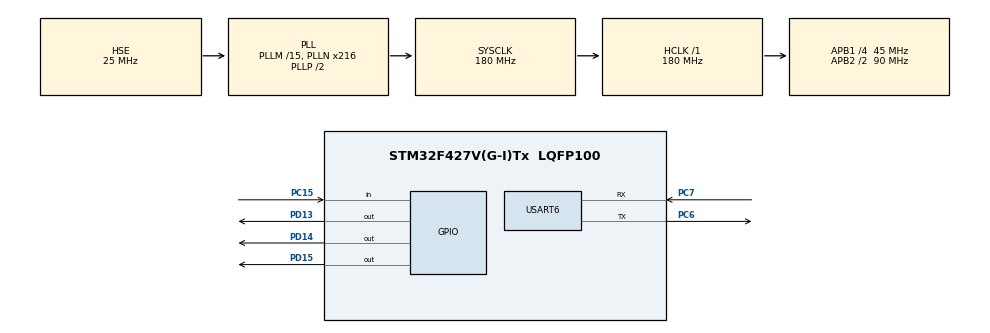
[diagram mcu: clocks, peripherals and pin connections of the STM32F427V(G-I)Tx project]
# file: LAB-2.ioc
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Mcu.Family=STM32F4
Mcu.Name=STM32F427V(G-I)Tx
Mcu.Package=LQFP100
NVIC.PriorityGroup=NVIC_PRIORITYGROUP_4
NVIC.USART6_IRQn=true\:0\:0\:false\:false\:true\:true\:true\:true
PA13.Mode=JTAG_5_pins
PA13.Signal=SYS_JTMS-SWDIO
PA14.Mode=JTAG_5_pins
PA14.Signal=SYS_JTCK-SWCLK
PA15.Mode=JTAG_5_pins
PA15.Signal=SYS_JTDI
PB3.Mode=JTAG_5_pins
PB3.Signal=SYS_JTDO-SWO
PB4.Mode=JTAG_5_pins
PB4.Signal=SYS_JTRST
PC15/OSC32_OUT.Signal=GPIO_Input
PC6.Mode=Asynchronous
PC6.Signal=USART6_TX
PC7.Mode=Asynchronous
PC7.Signal=USART6_RX
PD13.Signal=GPIO_Output
PD14.Signal=GPIO_Output
PD15.Signal=GPIO_Output
PH0/OSC_IN.Mode=HSE-External-Oscillator
PH0/OSC_IN.Signal=RCC_OSC_IN
PH1/OSC_OUT.Mode=HSE-External-Oscillator
PH1/OSC_OUT.Signal=RCC_OSC_OUT
ProjectManager.HeapSize=0x200
ProjectManager.StackSize=0x400
ProjectManager.TargetToolchain=STM32CubeIDE
RCC.48MHZClocksFreq_Value=90000000
RCC.AHBFreq_Value=180000000
RCC.APB1CLKDivider=RCC_HCLK_DIV4
RCC.APB1Freq_Value=45000000
RCC.APB1TimFreq_Value=90000000
RCC.APB2CLKDivider=RCC_HCLK_DIV2
RCC.APB2Freq_Value=90000000
RCC.APB2TimFreq_Value=180000000
RCC.CortexFreq_Value=180000000
RCC.HCLKFreq_Value=180000000
RCC.HSE_VALUE=25000000
RCC.HSI_VALUE=16000000
RCC.LSE_VALUE=32768
RCC.PLLM=15
RCC.PLLN=216
RCC.PLLSourceVirtual=RCC_PLLSOURCE_HSE
RCC.SYSCLKFreq_VALUE=180000000
RCC.SYSCLKSource=RCC_SYSCLKSOURCE_PLLCLK
RCC.VCOOutputFreq_Value=360000000
USART6.VirtualMode=VM_ASYNC
board=custom

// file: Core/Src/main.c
/* USER CODE BEGIN Header */
/**
  ******************************************************************************
  * @file           : main.c
  * @brief          : Main program body
  ******************************************************************************
  * @attention
  *
  * Copyright (c) 2026 STMicroelectronics.
  * All rights reserved.
  *
  * This software is licensed under terms that can be found in the LICENSE file
  * in the root directory of this software component.
  * If no LICENSE file comes with this software, it is provided AS-IS.
  *
  ******************************************************************************
  */
/* USER CODE END Header */
#include "main.h"
#include "usart.h"
#include "gpio.h"

/* USER CODE BEGIN Includes */
#include <stdbool.h>

#include "morse_buf.h"
#include "led.h"
#include "timing.h"
#include "button_driver.h"
#include "uart_buf.h"
#include "morse.h"
#include "uart_driver.h"

/* USER CODE END Includes */

/* USER CODE BEGIN PD */

#define DURATION_TIMER 0
#define LETTER_PAUSE_TIMER 1

/* USER CODE END PD */

void SystemClock_Config(void);

int main(void)
{

  /* MCU Configuration--------------------------------------------------------*/

  /* Reset of all peripherals, Initializes the Flash interface and the Systick. */
  HAL_Init();

  /* Configure the system clock */
  SystemClock_Config();

  /* Initialize all configured peripherals */
  MX_GPIO_Init();
  MX_USART6_UART_Init();

  /* Infinite loop */
  /* USER CODE BEGIN WHILE */

  morse_buf button_buf;

  bool is_showing = false;
  bool is_printing = false;
  bool was_long_press = false;

  char received_char;
  morse curr_morse_sym;
  int curr_morse_sym_i = 0;

  uart_buf_reset(&buffer_rx);
  uart_buf_reset(&buffer_tx);
  morse_buf_reset(&button_buf);

  timer_reset(DURATION_TIMER);
  timer_reset(LETTER_PAUSE_TIMER);

  while (1)
  {
	  receive_char_into_buffer();
	  transmit_char_from_buffer();

	  if (!is_showing && uart_buf_pop(&buffer_rx, &received_char)) {
		  if (received_char == '+') {
			  uart6_switch_interrupt_mode();
		  } else {
			  if (morse_get_sym(received_char, 0, &curr_morse_sym)) {
				  timer_reset(DURATION_TIMER);
				  is_showing = true;
			  }
		  }
	  }

	  start_receive_char();

	  if (is_showing && is_timer_expired(LETTER_PAUSE_TIMER, LETTER_PAUSE_DURATION)) {
		  if (!is_printing && is_timer_expired(DURATION_TIMER, PAUSE_DURATION)) {
			  curr_morse_sym_i++;
			  is_printing = true;
			  light_up(GREEN);
			  timer_reset(DURATION_TIMER);
		  } else if (
				(is_printing && curr_morse_sym == MORSE_DASH && is_timer_expired(DURATION_TIMER, DASH_DURATION))
				|| (is_printing && curr_morse_sym == MORSE_DOT && is_timer_expired(DURATION_TIMER, DOT_DURATION))
			  ) {
				  light_down(GREEN);
				  is_printing = false;
				  timer_reset(DURATION_TIMER);
				  if (!morse_get_sym(received_char, curr_morse_sym_i, &curr_morse_sym)) {
					  curr_morse_sym_i = 0;
					  is_showing = false;
					  timer_reset(LETTER_PAUSE_TIMER);
				  }
		  }
	  }

	  if (is_long_press()) {
		  was_long_press = true;
	  }

	  switch (update_button_state()) {
		  case 1:
			  break;
		  case -1:
			  if (was_long_press) {
				  light_blink(RED);
				  morse_buf_write(&button_buf, MORSE_DASH);
				  was_long_press = false;
			  } else {
				  light_blink(ORANGE);
				  morse_buf_write(&button_buf, MORSE_DOT);
			  }
			  break;
		  default:
			  break;
	  }

	  if (
			  (!morse_buf_empty(&button_buf) && is_long_unpress()) || morse_buf_full(&button_buf)
	  ) {
		  char ch = decode_char(&button_buf);
		  morse_buf_reset(&button_buf);
		  if (ch != '\0') {
			  uart_buf_push(&buffer_tx, ch);
		  }
	  }
    /* USER CODE END WHILE */

  }
}

void SystemClock_Config(void)
{
  RCC_OscInitTypeDef RCC_OscInitStruct = {0};
  RCC_ClkInitTypeDef RCC_ClkInitStruct = {0};

  /** Configure the main internal regulator output voltage
  */
  __HAL_RCC_PWR_CLK_ENABLE();
  __HAL_PWR_VOLTAGESCALING_CONFIG(PWR_REGULATOR_VOLTAGE_SCALE1);

  /** Initializes the RCC Oscillators according to the specified parameters
  * in the RCC_OscInitTypeDef structure.
  */
  RCC_OscInitStruct.OscillatorType = RCC_OSCILLATORTYPE_HSE;
  RCC_OscInitStruct.HSEState = RCC_HSE_ON;
  RCC_OscInitStruct.PLL.PLLState = RCC_PLL_ON;
  RCC_OscInitStruct.PLL.PLLSource = RCC_PLLSOURCE_HSE;
  RCC_OscInitStruct.PLL.PLLM = 15;
  RCC_OscInitStruct.PLL.PLLN = 216;
  RCC_OscInitStruct.PLL.PLLP = RCC_PLLP_DIV2;
  RCC_OscInitStruct.PLL.PLLQ = 4;
  if (HAL_RCC_OscConfig(&RCC_OscInitStruct) != HAL_OK)
  {
    Error_Handler();
  }

  /** Activate the Over-Drive mode
  */
  if (HAL_PWREx_EnableOverDrive() != HAL_OK)
  {
    Error_Handler();
  }

  /** Initializes the CPU, AHB and APB buses clocks
  */
  RCC_ClkInitStruct.ClockType = RCC_CLOCKTYPE_HCLK|RCC_CLOCKTYPE_SYSCLK
                              |RCC_CLOCKTYPE_PCLK1|RCC_CLOCKTYPE_PCLK2;
  RCC_ClkInitStruct.SYSCLKSource = RCC_SYSCLKSOURCE_PLLCLK;
  RCC_ClkInitStruct.AHBCLKDivider = RCC_SYSCLK_DIV1;
  RCC_ClkInitStruct.APB1CLKDivider = RCC_HCLK_DIV4;
  RCC_ClkInitStruct.APB2CLKDivider = RCC_HCLK_DIV2;

  if (HAL_RCC_ClockConfig(&RCC_ClkInitStruct, FLASH_LATENCY_5) != HAL_OK)
  {
    Error_Handler();
  }
}

void Error_Handler(void)
{
  __disable_irq();
  while (1)
  {
  }
}
